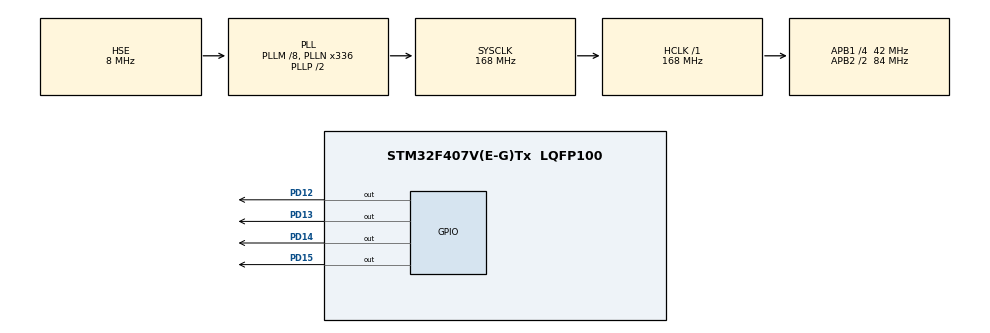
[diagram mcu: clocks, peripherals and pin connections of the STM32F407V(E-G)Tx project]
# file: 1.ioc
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Mcu.Family=STM32F4
Mcu.Name=STM32F407V(E-G)Tx
Mcu.Package=LQFP100
NVIC.PriorityGroup=NVIC_PRIORITYGROUP_4
NVIC.TIM1_UP_TIM10_IRQn=true\:15\:0\:false\:false\:true\:false\:true\:true
NVIC.TimeBase=TIM1_UP_TIM10_IRQn
NVIC.TimeBaseIP=TIM1
PD12.Signal=GPIO_Output
PD13.Signal=GPIO_Output
PD14.Signal=GPIO_Output
PD15.Signal=GPIO_Output
ProjectManager.HeapSize=0x200
ProjectManager.StackSize=0x400
ProjectManager.TargetToolchain=STM32CubeIDE
RCC.48MHZClocksFreq_Value=48000000
RCC.AHBFreq_Value=168000000
RCC.APB1CLKDivider=RCC_HCLK_DIV4
RCC.APB1Freq_Value=42000000
RCC.APB1TimFreq_Value=84000000
RCC.APB2CLKDivider=RCC_HCLK_DIV2
RCC.APB2Freq_Value=84000000
RCC.APB2TimFreq_Value=168000000
RCC.CortexFreq_Value=168000000
RCC.HCLKFreq_Value=168000000
RCC.HSE_VALUE=8000000
RCC.HSI_VALUE=16000000
RCC.PLLM=8
RCC.PLLN=336
RCC.PLLQ=7
RCC.PLLSourceVirtual=RCC_PLLSOURCE_HSE
RCC.SYSCLKFreq_VALUE=168000000
RCC.SYSCLKSource=RCC_SYSCLKSOURCE_PLLCLK
RCC.VCOOutputFreq_Value=336000000
VP_SYS_VS_tim1.Mode=TIM1
board=STM32F407G-DISC1

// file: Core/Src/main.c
/* USER CODE BEGIN Header */
/**
  ******************************************************************************
  * @file           : main.c
  * @brief          : Main program body
  ******************************************************************************
  * @attention
  *
  * Copyright (c) 2024 STMicroelectronics.
  * All rights reserved.
  *
  * This software is licensed under terms that can be found in the LICENSE file
  * in the root directory of this software component.
  * If no LICENSE file comes with this software, it is provided AS-IS.
  *
  ******************************************************************************
  */
/* USER CODE END Header */
#include "main.h"

/* USER CODE BEGIN Includes */
#include <stdio.h>
#include "FreeRTOS.h"
#include "task.h"
#include "FreeRTOSConfig.h"

/* USER CODE END Includes */

void SystemClock_Config(void);
static void MX_GPIO_Init(void);

/* USER CODE BEGIN 0 */
void vAperoidic1(void *pvparam)
{
	while(1)
	{
		HAL_GPIO_TogglePin(GPIOD,GPIO_PIN_13);
		vTaskDelay(2000/portTICK_RATE_MS);
	}
	vTaskDelete(NULL);
}
void vAperoidic2(void *pvparam)
{
	while(1)
	{
		HAL_GPIO_TogglePin(GPIOD,GPIO_PIN_14);
		vTaskDelay(1000/portTICK_RATE_MS);
	}
	vTaskDelete(NULL);
}
void vPeriodic3(void *pvparam)
{
	portTickType wakeupTime = xTaskGetTickCount();
	while(1)
	{
		HAL_GPIO_TogglePin(GPIOD,GPIO_PIN_12);
		vTaskDelayUntil(&wakeupTime,3000/portTICK_RATE_MS);
	}
	vTaskDelete(NULL);
}
void vPeriodic4(void *pvparam)
{
	portTickType wakeupTime = xTaskGetTickCount();
	while(1)
	{
		HAL_GPIO_TogglePin(GPIOD,GPIO_PIN_15);
				vTaskDelayUntil(&wakeupTime,4000/portTICK_RATE_MS);
	}
	vTaskDelete(NULL);
}
/* USER CODE END 0 */

int main(void)
{

  /* USER CODE BEGIN 1 */
	BaseType_t ret;

  /* USER CODE END 1 */

  /* MCU Configuration--------------------------------------------------------*/

  /* Reset of all peripherals, Initializes the Flash interface and the Systick. */
  HAL_Init();

  /* Configure the system clock */
  SystemClock_Config();

  /* Initialize all configured peripherals */
  MX_GPIO_Init();
  /* USER CODE BEGIN 2 */
  ret=xTaskCreate(vPeriodic3,"periodic",configMINIMAL_STACK_SIZE,NULL,3,NULL);
if(ret!=pdTRUE)
	Error_Handler();
ret=xTaskCreate(vPeriodic4,"periodic",configMINIMAL_STACK_SIZE,NULL,3,NULL);
if(ret!=pdTRUE)
	Error_Handler();
ret=xTaskCreate(vAperoidic1,"Aperiodic",configMINIMAL_STACK_SIZE,NULL,4,NULL);
if(ret!=pdTRUE)
	Error_Handler();
ret=xTaskCreate(vAperoidic2,"Aperiodic",configMINIMAL_STACK_SIZE,NULL,5,NULL);
if(ret!=pdTRUE)
	Error_Handler();

  /* USER CODE END 2 */

  /* Infinite loop */
  while (1)
  {

  }
}

void SystemClock_Config(void)
{
  RCC_OscInitTypeDef RCC_OscInitStruct = {0};
  RCC_ClkInitTypeDef RCC_ClkInitStruct = {0};

  /** Configure the main internal regulator output voltage
  */
  __HAL_RCC_PWR_CLK_ENABLE();
  __HAL_PWR_VOLTAGESCALING_CONFIG(PWR_REGULATOR_VOLTAGE_SCALE1);

  /** Initializes the RCC Oscillators according to the specified parameters
  * in the RCC_OscInitTypeDef structure.
  */
  RCC_OscInitStruct.OscillatorType = RCC_OSCILLATORTYPE_HSE;
  RCC_OscInitStruct.HSEState = RCC_HSE_OFF;
  RCC_OscInitStruct.PLL.PLLState = RCC_PLL_ON;
  RCC_OscInitStruct.PLL.PLLSource = RCC_PLLSOURCE_HSE;
  RCC_OscInitStruct.PLL.PLLM = 8;
  RCC_OscInitStruct.PLL.PLLN = 336;
  RCC_OscInitStruct.PLL.PLLP = RCC_PLLP_DIV2;
  RCC_OscInitStruct.PLL.PLLQ = 7;
  if (HAL_RCC_OscConfig(&RCC_OscInitStruct) != HAL_OK)
  {
    Error_Handler();
  }

  /** Initializes the CPU, AHB and APB buses clocks
  */
  RCC_ClkInitStruct.ClockType = RCC_CLOCKTYPE_HCLK|RCC_CLOCKTYPE_SYSCLK
                              |RCC_CLOCKTYPE_PCLK1|RCC_CLOCKTYPE_PCLK2;
  RCC_ClkInitStruct.SYSCLKSource = RCC_SYSCLKSOURCE_PLLCLK;
  RCC_ClkInitStruct.AHBCLKDivider = RCC_SYSCLK_DIV1;
  RCC_ClkInitStruct.APB1CLKDivider = RCC_HCLK_DIV4;
  RCC_ClkInitStruct.APB2CLKDivider = RCC_HCLK_DIV2;

  if (HAL_RCC_ClockConfig(&RCC_ClkInitStruct, FLASH_LATENCY_5) != HAL_OK)
  {
    Error_Handler();
  }
}

static void MX_GPIO_Init(void)
{
  GPIO_InitTypeDef GPIO_InitStruct = {0};

  /* GPIO Ports Clock Enable */
  __HAL_RCC_GPIOD_CLK_ENABLE();

  /*Configure GPIO pin Output Level */
  HAL_GPIO_WritePin(GPIOD, GPIO_PIN_12|GPIO_PIN_13|GPIO_PIN_14|GPIO_PIN_15, GPIO_PIN_RESET);

  /*Configure GPIO pins : PD12 PD13 PD14 PD15 */
  GPIO_InitStruct.Pin = GPIO_PIN_12|GPIO_PIN_13|GPIO_PIN_14|GPIO_PIN_15;
  GPIO_InitStruct.Mode = GPIO_MODE_OUTPUT_PP;
  GPIO_InitStruct.Pull = GPIO_NOPULL;
  GPIO_InitStruct.Speed = GPIO_SPEED_FREQ_LOW;
  HAL_GPIO_Init(GPIOD, &GPIO_InitStruct);

}

void HAL_TIM_PeriodElapsedCallback(TIM_HandleTypeDef *htim)
{
  if (htim->Instance == TIM1) {
    HAL_IncTick();
  }
}

void Error_Handler(void)
{
  __disable_irq();
  while (1)
  {
  }
}
